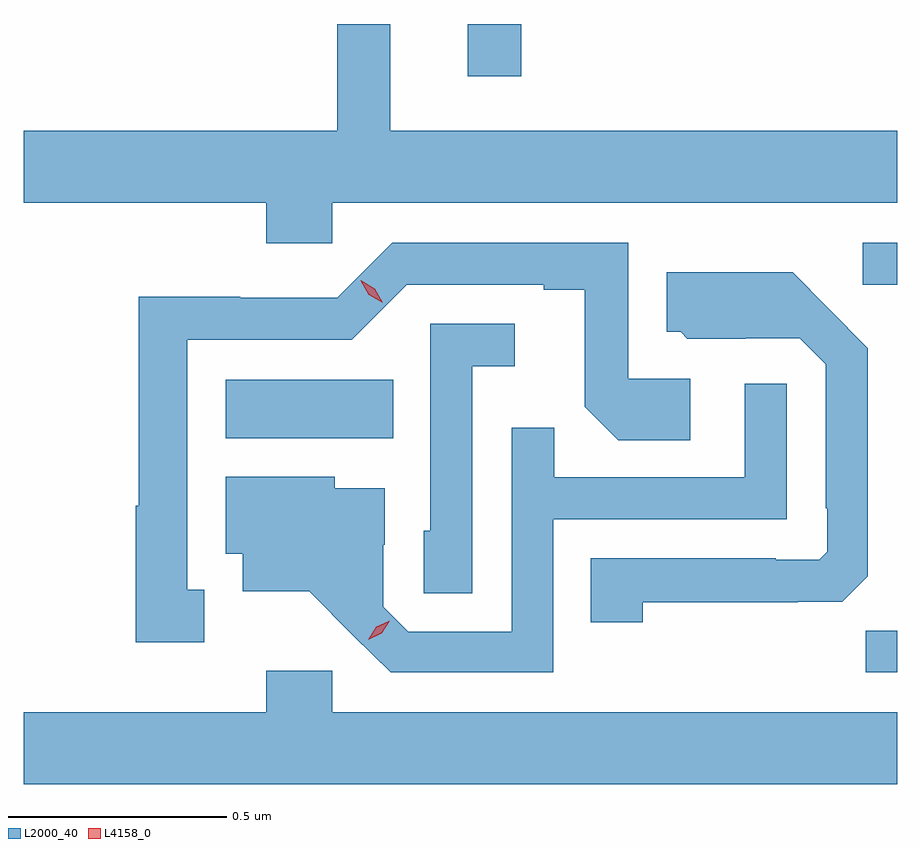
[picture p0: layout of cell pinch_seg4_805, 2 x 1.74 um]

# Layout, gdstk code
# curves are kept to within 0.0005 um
import gdstk
lib = gdstk.Library(unit=1e-6, precision=1e-09)
def R(c, l, rs):  # rectangles x0, y0, x1, y1
    for r in rs: c.add(gdstk.rectangle(r[:2], r[2:], *l))
def P(c, l, *ps):  # polygons
    for p in ps: c.add(gdstk.Polygon(p, *l))
L2000_40 = (2000, 40)
L4158_0 = (4158, 0)

pinch_seg4_805 = lib.new_cell('pinch_seg4_805')
R(pinch_seg4_805, L2000_40, [(797.512,818.388,797.584,818.483), (796.046,818.924,796.43,819.058), (797.505,819.276,797.584,819.372), (796.601,819.753,796.723,819.873)])
P(pinch_seg4_805, L2000_40, [(796.29,819.464),(797.584,819.464),(797.584,819.628),(796.423,819.628),(796.423,819.873),(796.302,819.873),(796.302,819.628),(795.584,819.628),(795.584,819.464),(796.139,819.464),(796.139,819.371),(796.29,819.371)],
  [(795.997,818.577),(795.958,818.577),(795.958,819.15),(796.335,819.15),(796.461,819.276),(796.775,819.276),(796.775,819.264),(796.869,819.264),(796.869,818.996),(796.945,818.92),(797.11,818.92),(797.11,819.06),(796.968,819.06),(796.968,819.372),(796.428,819.372),(796.302,819.246),(796.08,819.246),(796.08,819.248),(795.847,819.248),(795.847,818.769),(795.84,818.769),(795.84,818.457),(795.997,818.457)],
  [(797.001,818.548),(797.357,818.548),(797.357,818.549),(797.458,818.549),(797.517,818.608),(797.517,819.13),(797.345,819.304),(797.057,819.304),(797.057,819.168),(797.088,819.168),(797.104,819.152),(797.238,819.152),(797.238,819.153),(797.361,819.153),(797.421,819.093),(797.421,818.764),(797.424,818.764),(797.424,818.664),(797.406,818.646),(797.306,818.646),(797.306,818.649),(796.882,818.649),(796.882,818.502),(797.001,818.502)],
  [(796.611,819.089),(796.708,819.089),(796.708,819.186),(796.515,819.186),(796.515,818.712),(796.5,818.712),(796.5,818.569),(796.611,818.569)],
  [(796.797,818.739),(797.331,818.739),(797.331,819.049),(797.235,819.049),(797.235,818.835),(796.799,818.835),(796.799,818.948),(796.701,818.948),(796.701,818.481),(796.464,818.481),(796.407,818.538),(796.407,818.68),(796.411,818.68),(796.411,818.809),(796.296,818.809),(796.296,818.836),(796.046,818.836),(796.046,818.66),(796.085,818.66),(796.085,818.573),(796.237,818.573),(796.424,818.388),(796.797,818.388)],
  [(797.584,818.296),(796.29,818.296),(796.29,818.392),(796.139,818.392),(796.139,818.296),(795.584,818.296),(795.584,818.132),(797.584,818.132)])
P(pinch_seg4_805, L4158_0, [(796.373,818.463),(796.373,818.463),(796.391,818.492),(796.422,818.506),(796.422,818.506),(796.422,818.506),(796.404,818.477),(796.373,818.463)],
  [(796.406,819.234),(796.374,819.253),(796.356,819.285),(796.356,819.286),(796.356,819.286),(796.388,819.267),(796.406,819.235),(796.406,819.234)])

lib.write_gds('pinch_seg4_805.gds')
